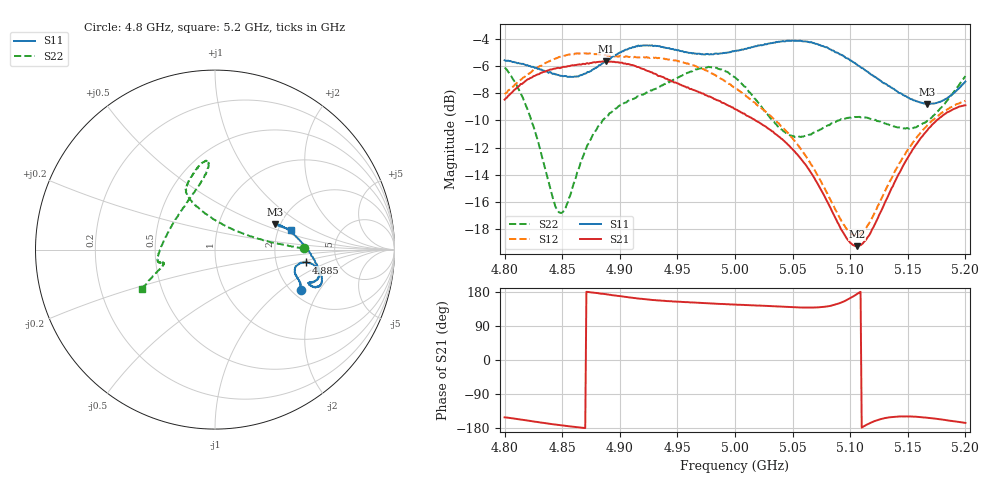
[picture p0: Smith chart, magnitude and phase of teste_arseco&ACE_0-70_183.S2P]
! Network Analyzer HP8722D
! Hewlett-Packard
! Data name: Linha & Wilkinson
! Saver's name: Rodrigo Anjos
! Comments: Teste da utilização de aquisição
! continua pelo VNA HP8722D
! Time and date: 8/5/2025 14:17
!  Frequency  S11  S21  S12  S22
# HZ  S  MA R 50
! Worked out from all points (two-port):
!   401 points, 4.8 GHz to 5.2 GHz, reference 50 ohm
!   highest |S21| = -5.65 dB at 4.888 GHz (marker M1); lowest = -19.3 dB at 5.106 GHz (marker M2)
!   |S21| within 3 dB of the highest: start of sweep to 4.988 GHz
!   lowest |S11| = -8.8 dB at 5.167 GHz (marker M3), VSWR 2.14, Z = 93.9 + j30.5 ohm
!   |S11| at or under -10 dB: nowhere
!   |S22| runs from -16.8 to -6.0 dB; largest |S21 - S12| = 1.1
!   S11 on the Smith chart (normalised r, x): 4.8 GHz: 2.23, -1.38; 4.885 GHz: 2.98, -0.58; 5.2 GHz: 2.36, +0.65
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4.8e9  0.5267 -25.2  0.3773 -151.3  0.3955 8.1  0.4944 0.7
4.82e9  0.5051 -20.6  0.4484 -159.8  0.4687 5.2  0.3463 5.7
4.846e9  0.4652 -16.2  0.4936 -171.2  0.538 0.9  0.148 52.5
4.853e9  0.4607 -14.6  0.4983 -173.8  0.5487 -0.1  0.1511 79.3
4.867e9  0.4648 -11.0  0.509 -178.9  0.5575 -2.2  0.2264 108.9
4.885e9  0.5127 -8.0  0.5217 174.9  0.5516 -3.2  0.3163 116.3
4.888e9  0.5222 -8.3  0.5217 173.5  0.5502 -3.4  0.3264 116.8
4.914e9  0.5934 -12.2  0.5005 163.1  0.54 -2.6  0.3831 114.4
4.934e9  0.5931 -16.5  0.4604 157.1  0.5376 -3.4  0.4196 109.2
4.977e9  0.5542 -19.6  0.3874 149.5  0.479 -7.2  0.4983 95.9
5e9  0.5699 -20.5  0.3483 146.2  0.4162 -7.0  0.4562 94.8
5.019e9  0.5937 -20.7  0.3142 143.7  0.3604 -4.2  0.3729 103.2
5.044e9  0.6191 -18.5  0.2624 140.1  0.2901 1.4  0.285 132.2
5.067e9  0.6118 -14.0  0.1997 138.3  0.2153 8.7  0.2831 165.0
5.094e9  0.547 -4.4  0.1221 153.9  0.1313 33.6  0.3206 -173.0
5.106e9  0.5067 1.2  0.109 174.1  0.1195 56.8  0.3257 -169.1
5.116e9  0.4747 6.3  0.1188 -168.3  0.1317 75.7  0.3223 -167.2
5.134e9  0.4232 15.1  0.1706 -151.2  0.1874 94.3  0.3046 -166.2
5.153e9  0.3784 21.5  0.2418 -149.1  0.2572 99.6  0.2963 -164.4
5.167e9  0.3635 22.9  0.2912 -152.5  0.3038 100.3  0.3152 -161.6
5.183e9  0.3797 20.5  0.3356 -158.6  0.3451 100.2  0.3696 -157.3
5.2e9  0.4397 14.6  0.3596 -166.0  0.3735 100.7  0.4605 -151.8
